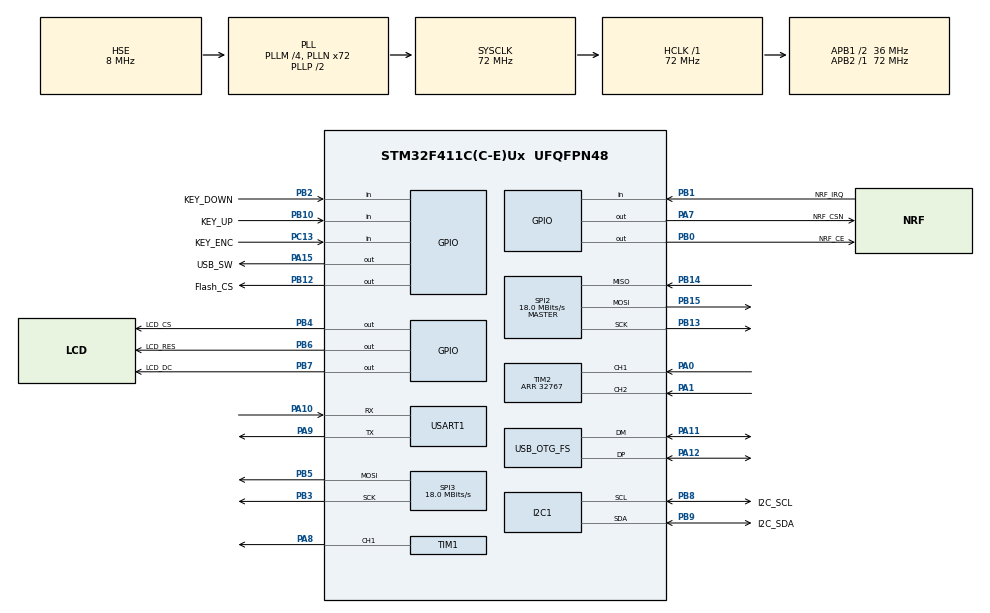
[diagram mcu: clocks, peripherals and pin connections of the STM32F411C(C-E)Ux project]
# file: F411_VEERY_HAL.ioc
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Dma.Request0=SPI3_TX
Dma.SPI3_TX.0.Direction=DMA_MEMORY_TO_PERIPH
Dma.SPI3_TX.0.FIFOMode=DMA_FIFOMODE_DISABLE
Dma.SPI3_TX.0.Instance=DMA1_Stream5
Dma.SPI3_TX.0.MemDataAlignment=DMA_MDATAALIGN_BYTE
Dma.SPI3_TX.0.MemInc=DMA_MINC_ENABLE
Dma.SPI3_TX.0.Mode=DMA_NORMAL
Dma.SPI3_TX.0.PeriphDataAlignment=DMA_PDATAALIGN_BYTE
Dma.SPI3_TX.0.PeriphInc=DMA_PINC_DISABLE
Dma.SPI3_TX.0.Priority=DMA_PRIORITY_LOW
Mcu.Family=STM32F4
Mcu.Name=STM32F411C(C-E)Ux
Mcu.Package=UFQFPN48
NVIC.DMA1_Stream5_IRQn=true\:1\:0\:true\:false\:true\:false\:true\:true
NVIC.OTG_FS_IRQn=true\:0\:0\:false\:false\:true\:false\:true\:true
NVIC.PriorityGroup=NVIC_PRIORITYGROUP_4
NVIC.TIM1_BRK_TIM9_IRQn=true\:15\:0\:false\:false\:true\:false\:true\:true
NVIC.TIM1_TRG_COM_TIM11_IRQn=true\:4\:0\:true\:false\:true\:true\:true\:true
NVIC.TIM1_UP_TIM10_IRQn=true\:15\:0\:false\:false\:true\:false\:true\:true
NVIC.TimeBase=TIM1_UP_TIM10_IRQn
NVIC.TimeBaseIP=TIM10
NVIC.USART1_IRQn=true\:3\:0\:true\:false\:true\:true\:true\:true
PA0-WKUP.Signal=S_TIM2_CH1_ETR
PA1.Signal=S_TIM2_CH2
PA10.Mode=Asynchronous
PA10.Signal=USART1_RX
PA11.Mode=Device_Only
PA11.Signal=USB_OTG_FS_DM
PA12.Mode=Device_Only
PA12.Signal=USB_OTG_FS_DP
PA13.Mode=Serial_Wire
PA13.Signal=SYS_JTMS-SWDIO
PA14.Mode=Serial_Wire
PA14.Signal=SYS_JTCK-SWCLK
PA15.GPIO_Label=USB_SW
PA15.GPIO_Speed=GPIO_SPEED_FREQ_VERY_HIGH
PA15.Signal=GPIO_Output
PA7.GPIO_Label=NRF_CSN
PA7.GPIO_PuPd=GPIO_NOPULL
PA7.GPIO_Speed=GPIO_SPEED_FREQ_VERY_HIGH
PA7.PinState=GPIO_PIN_SET
PA7.Signal=GPIO_Output
PA8.Signal=S_TIM1_CH1
PA9.Mode=Asynchronous
PA9.Signal=USART1_TX
PB0.GPIO_Label=NRF_CE
PB0.GPIO_Speed=GPIO_SPEED_FREQ_VERY_HIGH
PB0.PinState=GPIO_PIN_SET
PB0.Signal=GPIO_Output
PB1.GPIO_Label=NRF_IRQ
PB1.Signal=GPIO_Input
PB10.GPIO_Label=KEY_UP
PB10.GPIO_PuPd=GPIO_PULLUP
PB10.Signal=GPIO_Input
PB12.GPIO_Label=Flash_CS
PB12.GPIO_Speed=GPIO_SPEED_FREQ_VERY_HIGH
PB12.PinState=GPIO_PIN_SET
PB12.Signal=GPIO_Output
PB13.Mode=Full_Duplex_Master
PB13.Signal=SPI2_SCK
PB14.Mode=Full_Duplex_Master
PB14.Signal=SPI2_MISO
PB15.Mode=Full_Duplex_Master
PB15.Signal=SPI2_MOSI
PB2.GPIO_Label=KEY_DOWN
PB2.GPIO_PuPd=GPIO_PULLUP
PB2.Signal=GPIO_Input
PB3.Mode=TX_Only_Simplex_Unidirect_Master
PB3.Signal=SPI3_SCK
PB4.GPIO_Label=LCD_CS
PB4.GPIO_Speed=GPIO_SPEED_FREQ_VERY_HIGH
PB4.Signal=GPIO_Output
PB5.Mode=TX_Only_Simplex_Unidirect_Master
PB5.Signal=SPI3_MOSI
PB6.GPIO_Label=LCD_RES
PB6.GPIO_Speed=GPIO_SPEED_FREQ_VERY_HIGH
PB6.Signal=GPIO_Output
PB7.GPIO_Label=LCD_DC
PB7.GPIO_Speed=GPIO_SPEED_FREQ_VERY_HIGH
PB7.Signal=GPIO_Output
PB8.GPIO_Label=I2C_SCL
PB8.Mode=I2C
PB8.Signal=I2C1_SCL
PB9.GPIO_Label=I2C_SDA
PB9.Mode=I2C
PB9.Signal=I2C1_SDA
PC13-ANTI_TAMP.GPIO_Label=KEY_ENC
PC13-ANTI_TAMP.GPIO_PuPd=GPIO_PULLDOWN
PC13-ANTI_TAMP.Signal=GPIO_Input
PC14-OSC32_IN.Mode=LSE-External-Oscillator
PC14-OSC32_IN.Signal=RCC_OSC32_IN
PC15-OSC32_OUT.Mode=LSE-External-Oscillator
PC15-OSC32_OUT.Signal=RCC_OSC32_OUT
PH0\ -\ OSC_IN.Mode=HSE-External-Oscillator
PH0\ -\ OSC_IN.Signal=RCC_OSC_IN
PH1\ -\ OSC_OUT.Mode=HSE-External-Oscillator
PH1\ -\ OSC_OUT.Signal=RCC_OSC_OUT
ProjectManager.HeapSize=0x1200
ProjectManager.StackSize=0x4200
ProjectManager.TargetToolchain=MDK-ARM V5.32
RCC.48MHZClocksFreq_Value=48000000
RCC.AHBFreq_Value=72000000
RCC.APB1CLKDivider=RCC_HCLK_DIV2
RCC.APB1Freq_Value=36000000
RCC.APB1TimFreq_Value=72000000
RCC.APB2Freq_Value=72000000
RCC.APB2TimFreq_Value=72000000
RCC.CortexFreq_Value=72000000
RCC.HCLKFreq_Value=72000000
RCC.HSE_VALUE=8000000
RCC.HSI_VALUE=16000000
RCC.PLLM=4
RCC.PLLN=72
RCC.PLLQ=3
RCC.SYSCLKFreq_VALUE=72000000
RCC.SYSCLKSource=RCC_SYSCLKSOURCE_PLLCLK
RCC.VCOOutputFreq_Value=144000000
SH.S_TIM1_CH1.0=TIM1_CH1,PWM Generation1 CH1
SH.S_TIM2_CH1_ETR.0=TIM2_CH1,Encoder_Interface
SH.S_TIM2_CH2.0=TIM2_CH2,Encoder_Interface
SPI2.BaudRatePrescaler=SPI_BAUDRATEPRESCALER_2
SPI2.CalculateBaudRate=18.0 MBits/s
SPI2.Direction=SPI_DIRECTION_2LINES
SPI2.Mode=SPI_MODE_MASTER
SPI2.VirtualType=VM_MASTER
SPI3.BaudRatePrescaler=SPI_BAUDRATEPRESCALER_2
SPI3.CalculateBaudRate=18.0 MBits/s
SPI3.Direction=SPI_DIRECTION_2LINES
SPI3.Mode=SPI_MODE_MASTER
SPI3.VirtualType=VM_MASTER
TIM1.Channel-PWM\ Generation1\ CH1=TIM_CHANNEL_1
TIM1.Period=99
TIM1.Prescaler=839
TIM11.AutoReloadPreload=TIM_AUTORELOAD_PRELOAD_ENABLE
TIM11.Period=99
TIM11.Prescaler=8399
TIM2.AutoReloadPreload=TIM_AUTORELOAD_PRELOAD_ENABLE
TIM2.EncoderMode=TIM_ENCODERMODE_TI12
TIM2.IC1Filter=15
TIM2.IC2Filter=15
TIM2.Period=32767
TIM9.Prescaler=9
USART1.VirtualMode=VM_ASYNC
USB_DEVICE.CLASS_NAME_FS=MSC
USB_DEVICE.MSC_MEDIA_PACKET=4096
USB_DEVICE.VirtualMode=Msc
USB_DEVICE.VirtualModeFS=Msc_FS
USB_OTG_FS.VirtualMode=Device_Only
VP_SYS_VS_tim10.Mode=TIM10
VP_TIM11_VS_ClockSourceINT.Mode=Enable_Timer
VP_TIM1_VS_ClockSourceINT.Mode=Internal
VP_TIM9_VS_ClockSourceINT.Mode=Internal
VP_USB_DEVICE_VS_USB_DEVICE_MSC_FS.Mode=MSC_FS
board=custom

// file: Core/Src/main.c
/* USER CODE BEGIN Header */
/**
  ******************************************************************************
  * @file           : main.c
  * @brief          : Main program body
  ******************************************************************************
  * @attention
  *
  * Copyright (c) 2023 STMicroelectronics.
  * All rights reserved.
  *
  * This software is licensed under terms that can be found in the LICENSE file
  * in the root directory of this software component.
  * If no LICENSE file comes with this software, it is provided AS-IS.
  *
  ******************************************************************************
  */
/* USER CODE END Header */
#include "main.h"
#include "dma.h"
#include "i2c.h"
#include "spi.h"
#include "tim.h"
#include "usart.h"
#include "usb_device.h"
#include "gpio.h"

/* USER CODE BEGIN Includes */

#include "lcd.h"
#include "key.h"
#include "timer.h"
#include "encoder.h"
#include "usb_switch.h"
#include "mpu6050.h"
#include "w25q64.h"
#include "nRF24L01P.h"
#include "extio.h"
#include "drv2605l.h"
#include "uart_drv.h"

#include "ff.h"
#include "diskio.h"
#include "shell.h"

#include "string.h"
#include "stdlib.h"

/* USER CODE END Includes */

/* USER CODE BEGIN PV */
//uint8_t LCD_GRAM[32768] = {0};//32768Bytes
uint8_t LCD_GRAM[8] = {0};

FATFS fs;													/* FatFs文件系统对象 */
FIL fnew;													/* 文件对象 */
FRESULT f_res;     					  /* 文件成功读写数量 */
char fpath[100];                  /* 保存当前扫描路径 */
char readbuffer[512];

//**
//  * 文件信息获取
//  */
FILINFO fno;
static FRESULT file_check(void)
{

  /* 获取文件信息 */
  f_res=f_stat("1:TEST.txt",&fno);
  if(f_res==FR_OK)
  {
    printf("“1:TEST.txt”文件信息：\n");
    printf("文件大小: %ld(字节)\n", fno.fsize);
    printf("时间戳: %u/%02u/%02u, %02u:%02u\n",
           (fno.fdate >> 9) + 1980, fno.fdate >> 5 & 15, fno.fdate & 31,fno.ftime >> 11, fno.ftime >> 5 & 63);
    printf("属性: %c%c%c%c%c\n\n",
           (fno.fattrib & AM_DIR) ? 'D' : '-',      // 是一个目录
           (fno.fattrib & AM_RDO) ? 'R' : '-',      // 只读文件
           (fno.fattrib & AM_HID) ? 'H' : '-',      // 隐藏文件
           (fno.fattrib & AM_SYS) ? 'S' : '-',      // 系统文件
           (fno.fattrib & AM_ARC) ? 'A' : '-');     // 档案文件
  }
	else
		printf("获取文件信息失败，返回值为%d\n", f_res);
  return f_res;
}

/* FatFs多项功能测试 */
static FRESULT miscellaneous(void)
{
  DIR dir;
  FATFS *pfs;
  DWORD fre_clust, fre_sect, tot_sect;
	UINT bw;          // 实际写入的字节数
	UINT br;          // 实际读取的字节数

  /* 获取设备信息和空簇大小 */
  f_res = f_getfree("1:", &fre_clust, &pfs);

  /* 计算得到总的扇区个数和空扇区个数 */
  tot_sect = (pfs->n_fatent - 2) * pfs->csize;
  fre_sect = fre_clust * pfs->csize;

  /* 打印信息(4096 字节/扇区) */
  printf("\n设备总空间：%10lu KB。\n可用空间：  %10lu KB。\n", tot_sect *4, fre_sect *4);

  printf("\n创建文件并写入...\r\n");
  f_res = f_open(&fnew, "1:TEST.txt",
                             FA_CREATE_ALWAYS | FA_WRITE);
	if ( f_res == FR_OK )
	{
		printf("打开文件成功\r\n");
    /* 定位到文件末 */
    f_res = f_lseek(&fnew,f_size(&fnew));
    if (f_res == FR_OK)
    {
      /* 格式化写入，参数格式类似printf函数 */
      f_printf(&fnew,"你好，这里是1:TEST.txt文件的内容。");
			printf("结束写入\r\n");
    }
    f_close(&fnew);
	}
  else
  {
    printf("打开文件失败：%d\n\n",f_res);
  }

	HAL_Delay(10);

	printf("\n尝试读取文件...\r\n");
	f_res = f_open(&fnew, "1:TEST.txt",
                            FA_OPEN_ALWAYS|FA_READ);
	if ( f_res == FR_OK )
	{
		printf("打开文件成功\r\n");
		/*  文件定位到文件起始位置 */
		f_res = f_lseek(&fnew,0);
		/* 读取文件所有内容到缓存区 */
		f_res = f_read(&fnew,readbuffer,f_size(&fnew),&br);
		if(f_res == FR_OK)
		{
			printf("文件内容：\n%s",readbuffer);
			printf("\n文件结束\n");
			memset(readbuffer, 0, 7);
		}
    f_close(&fnew);
	}
  else
  {
    printf("打开文件失败：%d\n",f_res);
  }

  return f_res;
}

/**
  * @brief  scan_files 递归扫描FatFs内的文件
  * @param  path:初始扫描路径
  * @retval result:文件系统的返回值
  */
static FRESULT scan_files (char* path)
{
  FRESULT res; 		//部分在递归过程被修改的变量，不用全局变量
  FILINFO fno;
  DIR dir;
  int i;
  char *fn;        // 文件名

#if _USE_LFN
  /* 长文件名支持 */
  /* 简体中文需要2个字节保存一个“字”*/
  static char lfn[_MAX_LFN*2 + 1];
  fno.lfname = lfn;
  fno.lfsize = sizeof(lfn);
#endif
  //打开目录
  res = f_opendir(&dir, path);
  if (res == FR_OK)
	{
    i = strlen(path);
    for (;;)
		{
      //读取目录下的内容，再读会自动读下一个文件
      res = f_readdir(&dir, &fno);
      //为空时表示所有项目读取完毕，跳出
      if (res != FR_OK || fno.fname[0] == 0) break;
#if _USE_LFN
      fn = *fno.lfname ? fno.lfname : fno.fname;
#else
      fn = fno.fname;
#endif
      //点表示当前目录，跳过
      if (*fn == '.') continue;
      //目录，递归读取
      if (fno.fattrib & AM_DIR)
			{
        //合成完整目录名
        sprintf(&path[i], "/%s", fn);
        //递归遍历
        res = scan_files(path);
        path[i] = 0;
        //打开失败，跳出循环
        if (res != FR_OK)
					break;
      }
			else
			{
				printf("%s/%s\r\n", path, fn);								//输出文件名
        /* 可以在这里提取特定格式的文件路径 */
      }//else
    } //for
  }
  return res;
}

/* USER CODE END PV */

void SystemClock_Config(void);

/* USER CODE BEGIN 0 */

//debug信息打印到shell0中
void DEBUG_OUT(char *fmt, ...)
{
	shellPrint(&shell0, fmt);
}

/* USER CODE END 0 */

int main(void)
{

  /* MCU Configuration--------------------------------------------------------*/

  /* Reset of all peripherals, Initializes the Flash interface and the Systick. */
  HAL_Init();

  /* Configure the system clock */
  SystemClock_Config();

  /* Initialize all configured peripherals */
  MX_GPIO_Init();
  MX_DMA_Init();
  MX_SPI3_Init();
  MX_TIM1_Init();
  MX_TIM2_Init();
  MX_TIM11_Init();
  MX_USART1_UART_Init();
  MX_I2C1_Init();
  MX_SPI2_Init();
  MX_TIM9_Init();
  MX_USB_DEVICE_Init();
  /* USER CODE BEGIN 2 */
	bsp_extio_init();
	shell_init();

//	LCD_Init();
//	HAL_Delay(10);
//	LCD_Fill_GRAM(1, 1, 127, 127, WHITE);
//	LCD_Reff_reshGRAM();
//	bsp_lcd_bl_pwm_set(20);

	while(bsp_mpu6050_init())
	{
		HAL_Delay(10);
	}

	bsp_l01_init();
	while(bsp_l01_checkDevice())
	{
		HAL_Delay(10);
	}
	bsp_l01_switchToTx();

//	bsp_drv2605l_init();
//	bsp_drv2605l_set_waveform(0, 51);
//	bsp_drv2605l_go();
//	bsp_drv2605l_set_waveform(0, 26);

	bsp_encoder_init();
	bsp_tim11_5ms_isr_init();

	bsp_w25q_init();

	//在外部SPI Flash挂载文件系统
//	f_res = f_mount(&fs,"1:",1);
//  if(f_res!=FR_OK)
//  {
//    DEBUG_OUT("外部Flash挂载文件系统失败。(%d)\r\n",f_res);
//		while(1);
//  }
//  else
//  {
//    DEBUG_OUT("文件系统挂载成功，可以进行测试\r\n");
//  }

	DEBUG_OUT("USB Initializing...\r\n");
	MX_USB_DEVICE_Init();
	HAL_Delay(1000);
	DEBUG_OUT("switching Type-C port to USBMSC...\r\n");
	bsp_typec_usb_func_switch(USB);

//	f_mkfs("1:", 0, 4096);
//	DEBUG_OUT("mkfs:%d\r\n\r\n", f_res);

//	//在外部SPI Flash挂载文件系统，文件系统挂载时会对SPI设备初始化
//	f_res = f_mount(&fs,"1:",1);
//  if(f_res!=FR_OK)
//  {
//    DEBUG_OUT("外部Flash挂载文件系统失败。(%d)\r\n",f_res);
//		while(1);
//  }
//  else
//  {
//    DEBUG_OUT("文件系统挂载成功，可以进行测试\r\n");
//  }
//
//	DEBUG_OUT("***************** 文件扫描测试 ****************\r\n");
//  strcpy(fpath,"1:");
//  scan_files(fpath);
//
//  /* FatFs多项功能测试 */
//  f_res = miscellaneous();

//  DEBUG_OUT("\n*************** 文件信息获取测试 **************\r\n");
//  f_res = file_check();

//  DEBUG_OUT("***************** 文件扫描测试 ****************\r\n");
//  strcpy(fpath,"1:");
//  scan_files(fpath);
//
//	/* 不再使用文件系统，取消挂载文件系统 */
//	f_mount(NULL,"1:",1);

  /* USER CODE END 2 */

  /* Infinite loop */
  while (1)
  {

  }
}

void SystemClock_Config(void)
{
  RCC_OscInitTypeDef RCC_OscInitStruct = {0};
  RCC_ClkInitTypeDef RCC_ClkInitStruct = {0};

  /** Configure the main internal regulator output voltage
  */
  __HAL_RCC_PWR_CLK_ENABLE();
  __HAL_PWR_VOLTAGESCALING_CONFIG(PWR_REGULATOR_VOLTAGE_SCALE1);

  /** Initializes the RCC Oscillators according to the specified parameters
  * in the RCC_OscInitTypeDef structure.
  */
  RCC_OscInitStruct.OscillatorType = RCC_OSCILLATORTYPE_HSE;
  RCC_OscInitStruct.HSEState = RCC_HSE_ON;
  RCC_OscInitStruct.PLL.PLLState = RCC_PLL_ON;
  RCC_OscInitStruct.PLL.PLLSource = RCC_PLLSOURCE_HSE;
  RCC_OscInitStruct.PLL.PLLM = 4;
  RCC_OscInitStruct.PLL.PLLN = 72;
  RCC_OscInitStruct.PLL.PLLP = RCC_PLLP_DIV2;
  RCC_OscInitStruct.PLL.PLLQ = 3;
  if (HAL_RCC_OscConfig(&RCC_OscInitStruct) != HAL_OK)
  {
    Error_Handler();
  }

  /** Initializes the CPU, AHB and APB buses clocks
  */
  RCC_ClkInitStruct.ClockType = RCC_CLOCKTYPE_HCLK|RCC_CLOCKTYPE_SYSCLK
                              |RCC_CLOCKTYPE_PCLK1|RCC_CLOCKTYPE_PCLK2;
  RCC_ClkInitStruct.SYSCLKSource = RCC_SYSCLKSOURCE_PLLCLK;
  RCC_ClkInitStruct.AHBCLKDivider = RCC_SYSCLK_DIV1;
  RCC_ClkInitStruct.APB1CLKDivider = RCC_HCLK_DIV2;
  RCC_ClkInitStruct.APB2CLKDivider = RCC_HCLK_DIV1;

  if (HAL_RCC_ClockConfig(&RCC_ClkInitStruct, FLASH_LATENCY_2) != HAL_OK)
  {
    Error_Handler();
  }
}

void Error_Handler(void)
{
  __disable_irq();
  while (1)
  {
  }
}

#ifdef  USE_FULL_ASSERT
/**
  * @brief  Reports the name of the source file and the source line number
  *         where the assert_param error has occurred.
  * @param  file: pointer to the source file name
  * @param  line: assert_param error line source number
  * @retval None
  */
void assert_failed(uint8_t *file, uint32_t line)
{
  /* USER CODE BEGIN 6 */
  /* User can add his own implementation to report the file name and line number,
     ex: DEBUG_OUT("Wrong parameters value: file %s on line %d\r\n", file, line) */
  /* USER CODE END 6 */
}
#endif /* USE_FULL_ASSERT */
